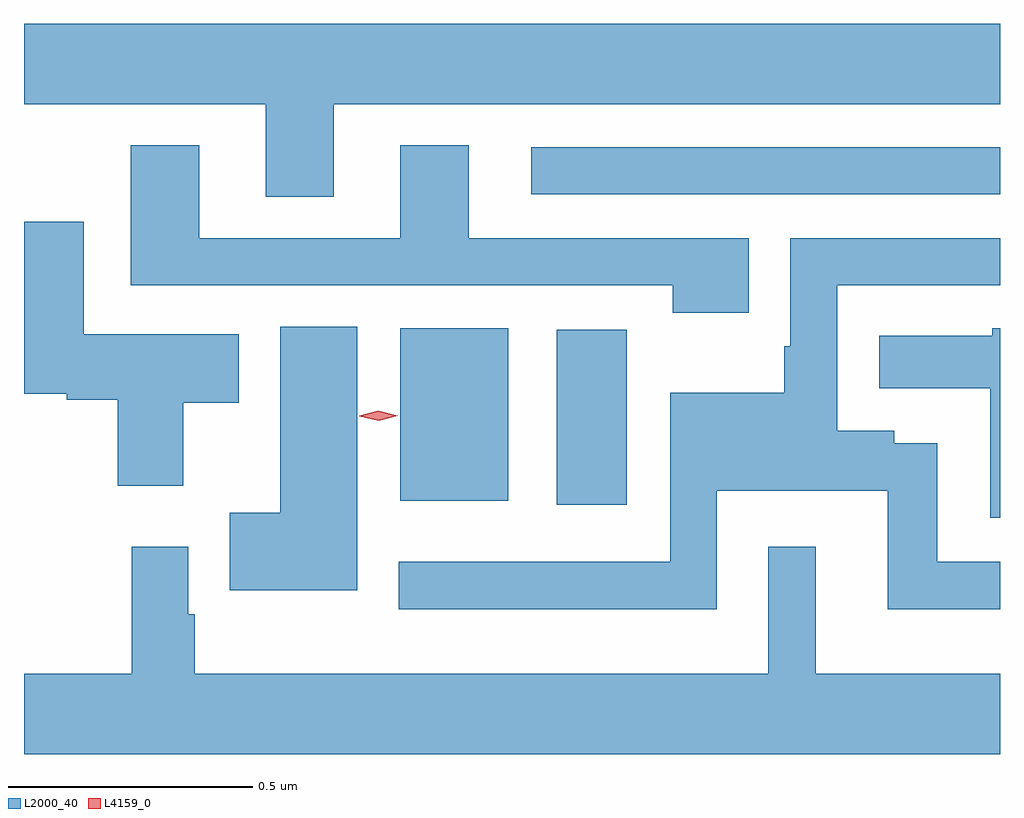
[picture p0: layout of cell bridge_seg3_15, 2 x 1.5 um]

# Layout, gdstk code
import gdstk
lib = gdstk.Library(unit=1e-6, precision=1e-09)
def R(c, l, rs):  # rectangles x0, y0, x1, y1
    for r in rs: c.add(gdstk.rectangle(r[:2], r[2:], *l))
def P(c, l, *ps):  # polygons
    for p in ps: c.add(gdstk.Polygon(p, *l))
L2000_40 = (2000, 40)
L4159_0 = (4159, 0)

bridge_seg3_15 = lib.new_cell('bridge_seg3_15')
R(bridge_seg3_15, L2000_40, [(667.082,741.387,667.225,741.745), (666.761,741.395,666.982,741.748), (667.029,742.023,667.99,742.119)])
P(bridge_seg3_15, L2000_40, [(666.625,742.208),(667.99,742.208),(667.99,742.372),(665.99,742.372),(665.99,742.208),(666.485,742.208),(666.485,742.018),(666.625,742.018)],
  [(667.475,741.933),(666.901,741.933),(666.901,742.123),(666.761,742.123),(666.761,741.933),(666.349,741.933),(666.349,742.123),(666.209,742.123),(666.209,741.837),(667.319,741.837),(667.319,741.78),(667.475,741.78)],
  [(666.316,741.596),(666.43,741.596),(666.43,741.736),(666.112,741.736),(666.112,741.967),(665.99,741.967),(665.99,741.614),(666.078,741.614),(666.078,741.602),(666.182,741.602),(666.182,741.426),(666.316,741.426)],
  [(667.41,741.416),(667.76,741.416),(667.76,741.173),(667.99,741.173),(667.99,741.27),(667.861,741.27),(667.861,741.513),(667.773,741.513),(667.773,741.538),(667.656,741.538),(667.656,741.837),(667.99,741.837),(667.99,741.933),(667.56,741.933),(667.56,741.712),(667.548,741.712),(667.548,741.616),(667.314,741.616),(667.314,741.27),(666.758,741.27),(666.758,741.173),(667.41,741.173)],
  [(666.673,741.752),(666.515,741.752),(666.515,741.37),(666.412,741.37),(666.412,741.212),(666.673,741.212)],
  [(667.99,741.748),(667.974,741.748),(667.974,741.733),(667.743,741.733),(667.743,741.626),(667.97,741.626),(667.97,741.36),(667.99,741.36)],
  [(667.99,741.04),(667.612,741.04),(667.612,741.301),(667.515,741.301),(667.515,741.04),(666.34,741.04),(666.34,741.162),(666.327,741.162),(666.327,741.301),(666.211,741.301),(666.211,741.04),(665.99,741.04),(665.99,740.876),(667.99,740.876)])
P(bridge_seg3_15, L4159_0, [(666.717,741.559),(666.677,741.568),(666.677,741.569),(666.677,741.569),(666.716,741.579),(666.756,741.569),(666.756,741.569),(666.756,741.569)])

lib.write_gds('bridge_seg3_15.gds')
